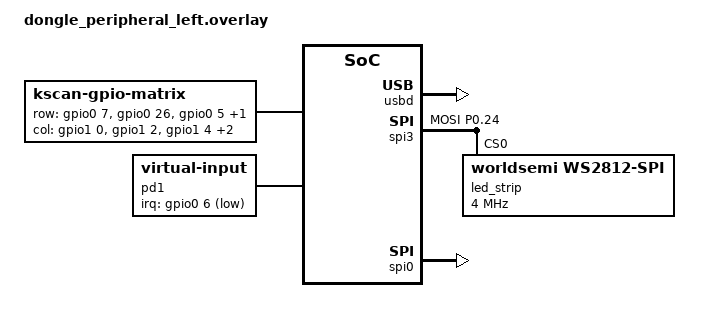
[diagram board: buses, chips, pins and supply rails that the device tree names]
#include "dongle.dtsi"
#include "trackball.dtsi"
#include <dt-bindings/led/led.h>
#include <zephyr/dt-bindings/input/input-event-codes.h>
#include <input/processors.dtsi>
#include <dt-bindings/zmk/input_transform.h>

&uart0 {
	status = "disabled";
};

zephyr_udc0: &usbd {
    compatible = "nordic,nrf-usbd";
    status = "okay";
};

/ {
    chosen {
        zmk,kscan = &kscan;
        zmk,underglow = &led_strip;
    };

	/* assign `input-listener` to all pointing devices */
	/* &pd0 on central, &pd1 on peripheral */

        trackball_central_listener {
                compatible = "zmk,input-listener";
                device = <&pd0>;
	};

        trackball_peripheral_listener {
                compatible = "zmk,input-listener";
                device = <&pd1>;
	};

    kscan: kscan {
        compatible = "zmk,kscan-gpio-matrix";
        wakeup-source;
        diode-direction = "col2row";
        row-gpios
            = <&gpio0 7 (GPIO_ACTIVE_HIGH | GPIO_PULL_DOWN)>
            , <&gpio0 26 (GPIO_ACTIVE_HIGH | GPIO_PULL_DOWN)>
            , <&gpio0 5 (GPIO_ACTIVE_HIGH | GPIO_PULL_DOWN)>
            , <&gpio1 9 (GPIO_ACTIVE_HIGH | GPIO_PULL_DOWN)>
            ;
        col-gpios
            = <&gpio1 0 GPIO_ACTIVE_HIGH>
            , <&gpio1 2 GPIO_ACTIVE_HIGH>
            , <&gpio1 4 GPIO_ACTIVE_HIGH>
            , <&gpio1 6 GPIO_ACTIVE_HIGH>
            , <&gpio0 24 GPIO_ACTIVE_HIGH>
            ;
    };
};

&pinctrl {
//for ws2812
    spi3_default: spi3_default {
        group1 {
            psels = <NRF_PSEL(SPIM_MOSI, 0, 24)>; //or p0.06
        };
    };

    spi3_sleep: spi3_sleep {
        group1 {
            psels = <NRF_PSEL(SPIM_MOSI, 0, 24)>; //or p0.06
            low-power-enable;
        };
    };
};

//ws2812
&spi3 {
    compatible = "nordic,nrf-spim";
    status = "okay";

    pinctrl-0 = <&spi3_default>;
    pinctrl-1 = <&spi3_sleep>;
    pinctrl-names = "default", "sleep";

    led_strip: ws2812@0 {
        compatible = "worldsemi,ws2812-spi";

        /* SPI */
        reg = <0>; /* ignored, but necessary for SPI bindings */
        spi-max-frequency = <4000000>;

        /* WS2812 */
        chain-length = <17>; /* arbitrary; change at will */
        spi-one-frame = <0x70>;
        spi-zero-frame = <0x40>;
        color-mapping = <LED_COLOR_ID_GREEN
                         LED_COLOR_ID_RED
                         LED_COLOR_ID_BLUE>;
    };
};


&spi0 {
  status = "okay";
  pinctrl-0 = <&spi1_default>;
  pinctrl-1 = <&spi1_sleep>;
  pinctrl-names = "default", "sleep";
  cs-gpios = <&gpio0 20 GPIO_ACTIVE_LOW>;
};

&pd1 {
	status = "okay";
    irq-gpios = <&gpio0 6 (GPIO_ACTIVE_LOW | GPIO_PULL_UP)>;  //for MOTION pin
    cpi = <900>;
    evt-type = <INPUT_EV_REL>;
    x-input-code = <INPUT_REL_X>;
    y-input-code = <INPUT_REL_Y>;
};

/ {
	pd1: virtual_input {
		compatible = "zmk,virtual-input";
	};
	input_relay_config_102 {
		compatible = "zmk,split-peripheral-input-relay";
		device = <&pd0>;
		relay-channel = <102>;
	};
};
